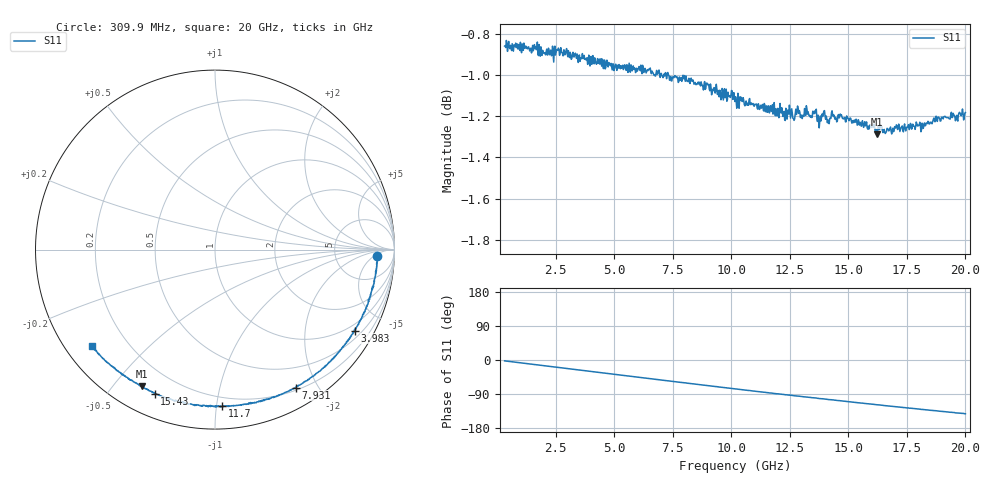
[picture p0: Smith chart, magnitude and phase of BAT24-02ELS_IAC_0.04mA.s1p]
! Infineon Technologies  Discrete & RF Semiconductors
! BAT24-02ELS
! IAC = 0.04 mA
! One-Port S-Parameters
# Hz  S  MA  R  50
!f  S11
!Hz  Mag  Ang
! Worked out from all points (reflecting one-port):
!   789 points, 309.9 MHz to 20 GHz, reference 50 ohm
!   lowest |S11| = -1.3 dB at 16.23 GHz (marker M1), VSWR 13.51, Z = 5.02 - j29.7 ohm
!   phase of S11 starts at -2 deg and turns -140 deg over the sweep
!   S11 on the Smith chart (normalised r, x): 309.9 MHz: 17, -7; 3.983 GHz: 0.75, -3.58; 7.931 GHz: 0.23, -1.72; 11.7 GHz: 0.14, -1.04; 15.43 GHz: 0.10, -0.66; 20 GHz: 0.08, -0.34
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3.0985e8  0.9059 -2.3
7.846125e8  0.9074 -5.8
1.634188e9  0.9056 -12.4
2.783612e9  0.902 -21.0
3.983012e9  0.9003 -30.0
5.232388e9  0.8956 -39.5
6.581712e9  0.892 -49.7
7.70615e9  0.8898 -58.1
7.931038e9  0.8912 -59.6
8.980512e9  0.8866 -67.5
1.015492e10  0.8782 -76.2
1.082959e10  0.8768 -81.1
1.170415e10  0.8733 -87.4
1.262869e10  0.87 -93.8
1.282859e10  0.876 -94.9
1.302849e10  0.8699 -96.6
1.355322e10  0.8735 -99.9
1.375312e10  0.8653 -101.8
1.392804e10  0.8723 -102.6
1.432784e10  0.8716 -105.3
1.507746e10  0.8701 -110.3
1.542729e10  0.8693 -112.7
1.622689e10  0.8622 -118.2
1.710145e10  0.8645 -123.7
1.755122e10  0.8666 -126.4
1.870065e10  0.8683 -133.7
1.892554e10  0.8686 -135.3
2e10  0.8728 -141.8
